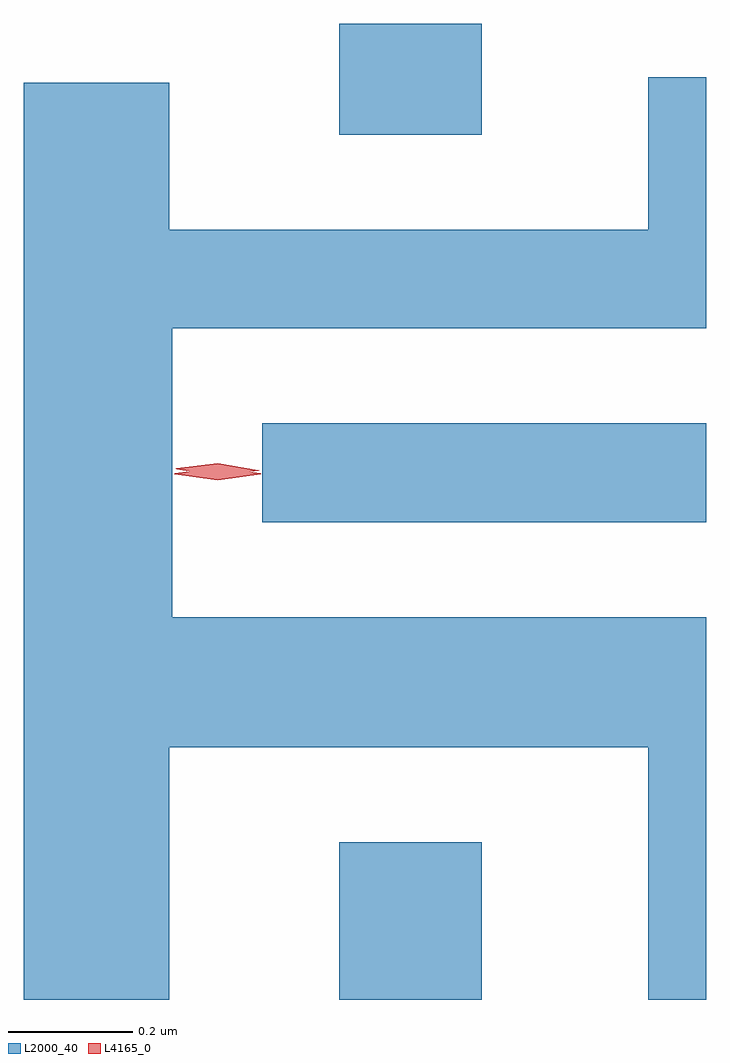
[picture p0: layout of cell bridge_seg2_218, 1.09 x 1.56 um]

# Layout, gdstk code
import gdstk
lib = gdstk.Library(unit=1e-6, precision=1e-09)
def R(c, l, rs):  # rectangles x0, y0, x1, y1
    for r in rs: c.add(gdstk.rectangle(r[:2], r[2:], *l))
def P(c, l, *ps):  # polygons
    for p in ps: c.add(gdstk.Polygon(p, *l))
L2000_40 = (2000, 40)
L4165_0 = (4165, 0)

bridge_seg2_218 = lib.new_cell('bridge_seg2_218')
R(bridge_seg2_218, L2000_40, [(916.211,977.802,916.439,978.054), (916.088,978.566,916.799,978.724), (916.211,979.186,916.439,979.364)])
P(bridge_seg2_218, L2000_40, [(915.939,978.206),(916.706,978.206),(916.706,977.802),(916.799,977.802),(916.799,978.414),(915.944,978.414),(915.944,978.876),(916.799,978.876),(916.799,979.278),(916.706,979.278),(916.706,979.034),(915.939,979.034),(915.939,979.269),(915.706,979.269),(915.706,977.802),(915.939,977.802)])
P(bridge_seg2_218, L4165_0, [(916.016,978.64),(915.951,978.651),(915.95,978.652),(915.951,978.652),(916.017,978.66),(916.082,978.649),(916.083,978.649),(916.082,978.648)],
  [(916.017,978.633),(915.948,978.643),(915.947,978.643),(915.948,978.644),(916.017,978.653),(916.086,978.644),(916.086,978.643),(916.086,978.643)])

lib.write_gds('bridge_seg2_218.gds')
